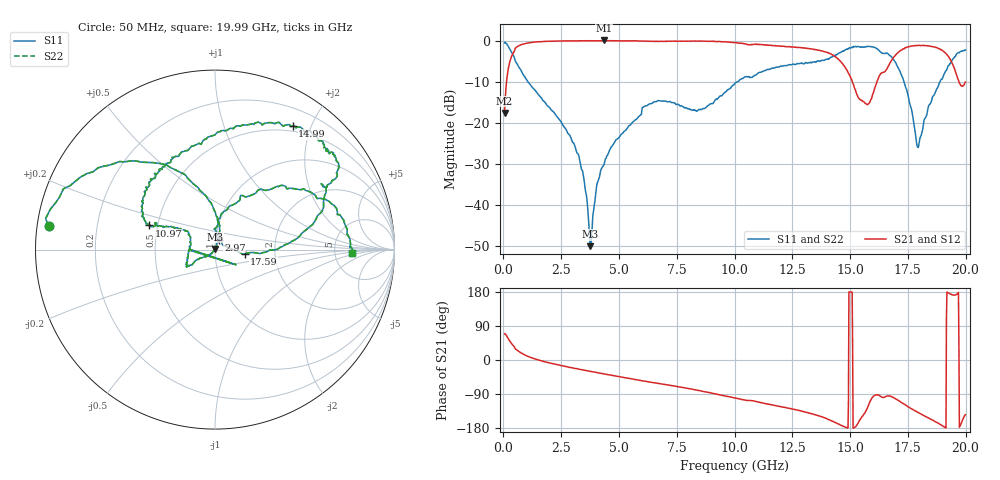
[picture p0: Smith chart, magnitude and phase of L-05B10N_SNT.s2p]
! Data Taken on a HP 8720C VNA using a shunt-through fixture with TRL* de-embedding
#	mhz	s	ma	r	50
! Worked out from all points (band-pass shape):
!   998 points, 50 MHz to 19.99 GHz, reference 50 ohm
!   highest |S21| = 0.02 dB at 4.35 GHz (marker M1); lowest = -17.6 dB at 50 MHz (marker M2)
!   |S21| within 3 dB of the highest: 427.4 MHz to 14.06 GHz (13.63 GHz wide, 188 % of centre); 17.06 GHz to 19.11 GHz (2.056 GHz wide, 11.4 % of centre)
!   lowest |S11| = -50.1 dB at 3.75 GHz (marker M3), VSWR 1.01, Z = 50 + j0.312 ohm
!   |S11| at or under -10 dB: 1.054 GHz to 10.14 GHz (9.084 GHz wide, 162 % of centre); 17.33 GHz to 18.9 GHz (1.567 GHz wide, 8.65 % of centre)
!   |S22| runs from -50.1 to -0.4 dB; largest |S21 - S12| = 0
!   S11 on the Smith chart (normalised r, x): 50 MHz: 0.03, +0.07; 2.97 GHz: 1.03, +0.12; 10.97 GHz: 0.45, +0.14; 14.99 GHz: 0.42, +1.73; 17.59 GHz: 1.39, -0.07; 19.99 GHz: 7.43, -0.70
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50  0.9364 172.0  0.1315 69.3  0.1315 69.3  0.9364 172.0
310  0.7534 141.3  0.5942 46.9  0.5942 46.9  0.7534 141.3
850  0.3861 108.3  0.9055 15.8  0.9055 15.8  0.3861 108.3
2970  0.05959 70.7  0.9912 -20.5  0.9912 -20.5  0.05959 70.7
3390  0.02672 68.7  0.9926 -25.6  0.9926 -25.6  0.02672 68.7
3750  0.00313 93.0  0.9934 -29.9  0.9934 -29.9  0.00313 93.0
4050  0.01805 -131.4  0.9973 -33.2  0.9973 -33.2  0.01805 -131.4
4350  0.03062 -135.4  1.003 -37.0  1.003 -37.0  0.03062 -135.4
6710  0.1856 -148.8  0.9771 -61.9  0.9771 -61.9  0.1856 -148.8
8410  0.1401 165.0  0.982 -80.2  0.982 -80.2  0.1401 165.0
10030  0.302 154.5  0.9422 -100.3  0.9422 -100.3  0.302 154.5
10970  0.39 159.8  0.9058 -110.2  0.9058 -110.2  0.39 159.8
13350  0.546 122.4  0.7887 -142.0  0.7887 -142.0  0.546 122.4
14290  0.6502 89.2  0.6593 -162.9  0.6593 -162.9  0.6502 89.2
14990  0.814 57.9  0.3718 179.6  0.3718 179.6  0.814 57.9
15750  0.8481 39.0  0.165 -126.4  0.165 -126.4  0.8481 39.0
16670  0.6751 25.7  0.4951 -94.6  0.4951 -94.6  0.6751 25.7
17590  0.1665 -8.1  0.8496 -126.3  0.8496 -126.3  0.1665 -8.1
17950  0.04988 36.4  0.869 -139.1  0.869 -139.1  0.04988 36.4
18730  0.2513 72.1  0.8204 -164.0  0.8204 -164.0  0.2513 72.1
19250  0.4961 45.5  0.6434 176.8  0.6434 176.8  0.4961 45.5
19990  0.7647 -1.5  0.3121 -144.3  0.3121 -144.3  0.7647 -1.5
